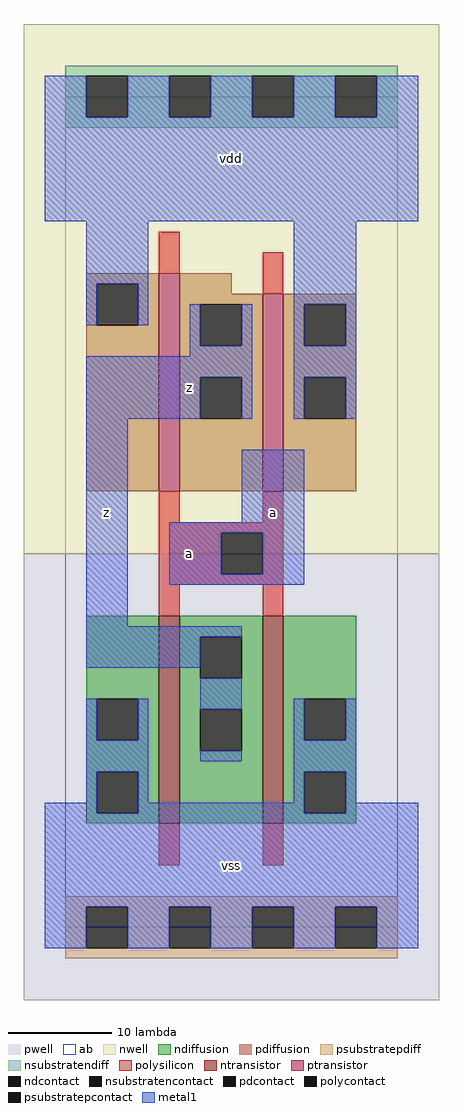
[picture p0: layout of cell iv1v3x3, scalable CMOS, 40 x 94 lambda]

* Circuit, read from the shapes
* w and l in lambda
.subckt iv1v3x3 a vdd vss z
M1 z a vss vss nfet w=20 l=2 m=2
M2 z a vdd vdd pfet w=21 l=2
M3 vdd a z vdd pfet w=19 l=2
.ends

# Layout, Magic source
magic
tech scmos
<< ab >>
rect 0 0 32 80
<< pwell >>
rect -4 -7 36 36
<< nwell >>
rect -4 36 36 87
<< polysilicon >>
rect 9 63 11 67
rect 19 61 21 65
rect 9 39 11 42
rect 19 39 21 42
rect 9 38 21 39
rect 9 34 15 38
rect 19 34 21 38
rect 9 33 21 34
rect 9 30 11 33
rect 19 30 21 33
rect 9 6 11 10
rect 19 6 21 10
<< ndiffusion >>
rect 2 22 9 30
rect 2 18 3 22
rect 7 18 9 22
rect 2 15 9 18
rect 2 11 3 15
rect 7 11 9 15
rect 2 10 9 11
rect 11 28 19 30
rect 11 24 13 28
rect 17 24 19 28
rect 11 21 19 24
rect 11 17 13 21
rect 17 17 19 21
rect 11 10 19 17
rect 21 22 28 30
rect 21 18 23 22
rect 27 18 28 22
rect 21 15 28 18
rect 21 11 23 15
rect 27 11 28 15
rect 21 10 28 11
<< pdiffusion >>
rect 2 62 9 63
rect 2 58 3 62
rect 7 58 9 62
rect 2 42 9 58
rect 11 61 16 63
rect 11 60 19 61
rect 11 56 13 60
rect 17 56 19 60
rect 11 53 19 56
rect 11 49 13 53
rect 17 49 19 53
rect 11 42 19 49
rect 21 60 28 61
rect 21 56 23 60
rect 27 56 28 60
rect 21 53 28 56
rect 21 49 23 53
rect 27 49 28 53
rect 21 42 28 49
<< metal1 >>
rect -2 78 2 82
rect 6 78 10 82
rect 14 78 18 82
rect 22 78 26 82
rect 30 78 34 82
rect -2 68 34 78
rect 2 62 8 68
rect 2 58 3 62
rect 7 58 8 62
rect 22 60 28 68
rect 12 56 13 60
rect 17 56 18 60
rect 12 55 18 56
rect 2 53 18 55
rect 2 49 13 53
rect 17 49 18 53
rect 22 56 23 60
rect 27 56 28 60
rect 22 53 28 56
rect 22 49 23 53
rect 27 49 28 53
rect 2 29 6 49
rect 17 39 23 46
rect 10 38 23 39
rect 10 34 15 38
rect 19 34 23 38
rect 10 33 23 34
rect 2 28 17 29
rect 2 25 13 28
rect 2 18 3 22
rect 7 18 8 22
rect 2 15 8 18
rect 13 21 17 24
rect 13 16 17 17
rect 22 18 23 22
rect 27 18 28 22
rect 2 12 3 15
rect -2 11 3 12
rect 7 12 8 15
rect 22 15 28 18
rect 22 12 23 15
rect 7 11 23 12
rect 27 12 28 15
rect 27 11 34 12
rect -2 2 34 11
rect -2 -2 2 2
rect 6 -2 10 2
rect 14 -2 18 2
rect 22 -2 26 2
rect 30 -2 34 2
<< ntransistor >>
rect 9 10 11 30
rect 19 10 21 30
<< ptransistor >>
rect 9 42 11 63
rect 19 42 21 61
<< polycontact >>
rect 15 34 19 38
<< ndcontact >>
rect 3 18 7 22
rect 3 11 7 15
rect 13 24 17 28
rect 13 17 17 21
rect 23 18 27 22
rect 23 11 27 15
<< pdcontact >>
rect 3 58 7 62
rect 13 56 17 60
rect 13 49 17 53
rect 23 56 27 60
rect 23 49 27 53
<< psubstratepcontact >>
rect 2 -2 6 2
rect 10 -2 14 2
rect 18 -2 22 2
rect 26 -2 30 2
<< nsubstratencontact >>
rect 2 78 6 82
rect 10 78 14 82
rect 18 78 22 82
rect 26 78 30 82
<< psubstratepdiff >>
rect 0 2 32 3
rect 0 -2 2 2
rect 6 -2 10 2
rect 14 -2 18 2
rect 22 -2 26 2
rect 30 -2 32 2
rect 0 -3 32 -2
<< nsubstratendiff >>
rect 0 82 32 83
rect 0 78 2 82
rect 6 78 10 82
rect 14 78 18 82
rect 22 78 26 82
rect 30 78 32 82
rect 0 77 32 78
<< labels >>
rlabel metal1 4 40 4 40 6 z
rlabel metal1 12 36 12 36 6 a
rlabel metal1 12 52 12 52 6 z
rlabel metal1 16 6 16 6 6 vss
rlabel metal1 20 40 20 40 6 a
rlabel metal1 16 74 16 74 6 vdd
<< end >>
